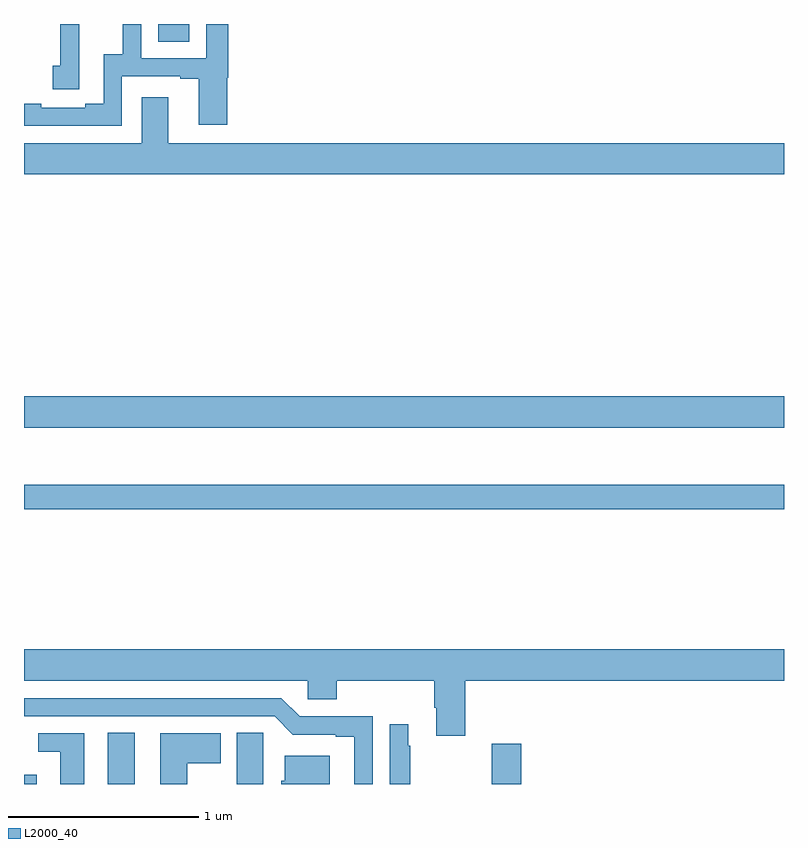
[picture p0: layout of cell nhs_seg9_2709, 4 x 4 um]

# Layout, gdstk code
import gdstk
lib = gdstk.Library(unit=1e-6, precision=1e-09)
def R(c, l, rs):  # rectangles x0, y0, x1, y1
    for r in rs: c.add(gdstk.rectangle(r[:2], r[2:], *l))
def P(c, l, *ps):  # polygons
    for p in ps: c.add(gdstk.Polygon(p, *l))
L2000_40 = (2000, 40)

nhs_seg9_2709 = lib.new_cell('nhs_seg9_2709')
R(nhs_seg9_2709, L2000_40, [(265,1238.5,265.066,1238.548), (265.442,1238.5,265.582,1238.771), (267.463,1238.5,267.617,1238.713), (265,1239.946,269,1240.075), (265,1240.376,269,1240.54), (265.706,1242.406,265.87,1242.5)])
P(nhs_seg9_2709, L2000_40, [(265.515,1242.225),(265.823,1242.225),(265.823,1242.213),(265.919,1242.213),(265.919,1241.97),(266.069,1241.97),(266.069,1242.218),(266.075,1242.218),(266.075,1242.5),(265.959,1242.5),(265.959,1242.321),(265.617,1242.321),(265.617,1242.5),(265.519,1242.5),(265.519,1242.341),(265.419,1242.341),(265.419,1242.08),(265.322,1242.08),(265.322,1242.06),(265.09,1242.06),(265.09,1242.08),(265,1242.08),(265,1241.964),(265.515,1241.964)],
  [(265.291,1242.5),(265.19,1242.5),(265.19,1242.28),(265.151,1242.28),(265.151,1242.156),(265.291,1242.156)],
  [(269,1241.872),(265.759,1241.872),(265.759,1242.115),(265.619,1242.115),(265.619,1241.872),(265,1241.872),(265,1241.708),(269,1241.708)],
  [(267.323,1239.044),(269,1239.044),(269,1239.208),(265,1239.208),(265,1239.044),(266.493,1239.044),(266.493,1238.946),(266.645,1238.946),(266.645,1239.044),(267.158,1239.044),(267.158,1238.902),(267.17,1238.902),(267.17,1238.754),(267.323,1238.754)],
  [(266.835,1238.856),(266.451,1238.856),(266.355,1238.952),(265,1238.952),(265,1238.856),(266.319,1238.856),(266.415,1238.76),(266.642,1238.76),(266.642,1238.748),(266.738,1238.748),(266.738,1238.5),(266.835,1238.5)],
  [(267.034,1238.702),(267.022,1238.702),(267.022,1238.815),(266.925,1238.815),(266.925,1238.5),(267.034,1238.5)],
  [(266.26,1238.66),(266.259,1238.66),(266.259,1238.771),(266.12,1238.771),(266.12,1238.5),(266.26,1238.5)],
  [(265.858,1238.608),(266.035,1238.608),(266.035,1238.767),(265.718,1238.767),(265.718,1238.5),(265.858,1238.5)],
  [(265.318,1238.766),(265.074,1238.766),(265.074,1238.67),(265.19,1238.67),(265.19,1238.5),(265.318,1238.5)],
  [(266.608,1238.65),(266.372,1238.65),(266.372,1238.517),(266.354,1238.517),(266.354,1238.5),(266.608,1238.5)])

lib.write_gds('nhs_seg9_2709.gds')
